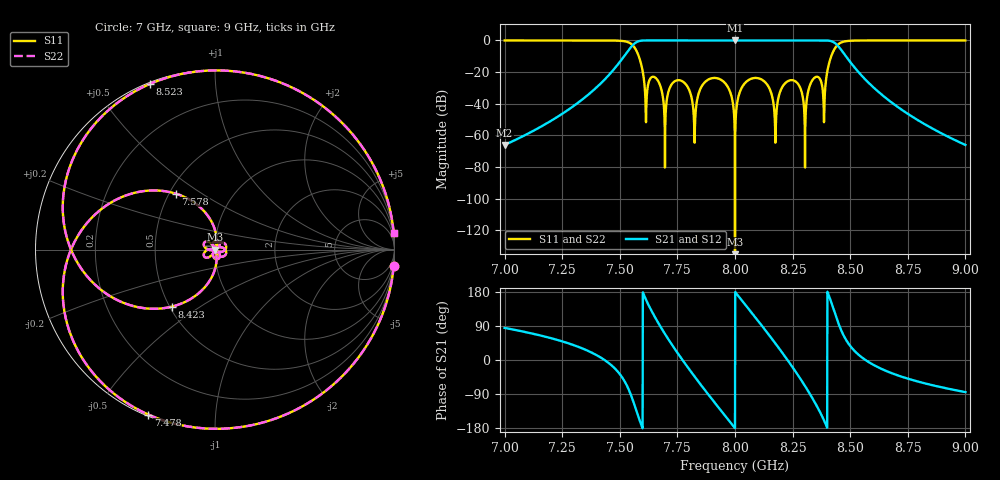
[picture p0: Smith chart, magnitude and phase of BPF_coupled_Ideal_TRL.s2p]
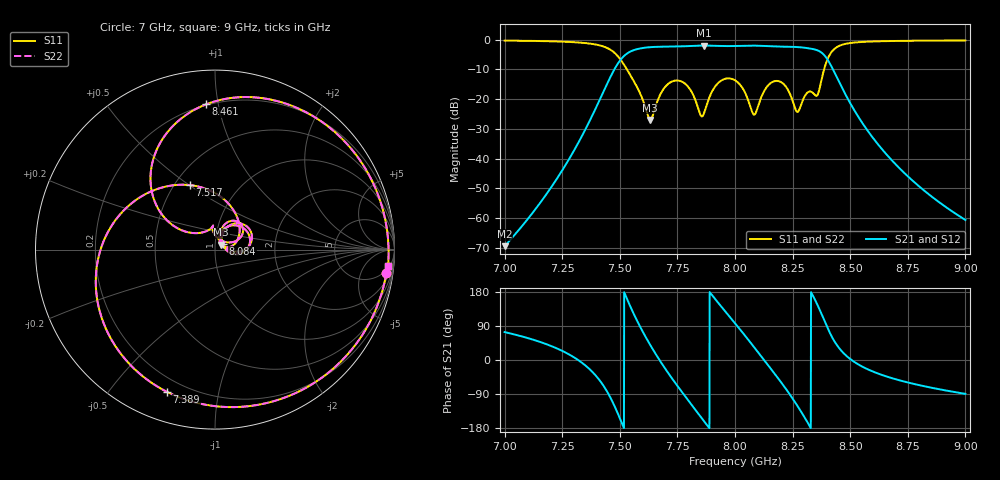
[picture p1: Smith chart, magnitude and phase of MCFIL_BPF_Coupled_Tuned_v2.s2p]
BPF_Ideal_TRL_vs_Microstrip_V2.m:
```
%% code for plotting BPF Coupled Ideal TRL Vs Microstrip MCFIL V2 tuned
file = 'BPF_coupled_Ideal_TRL.s2p';
file2  = 'MCFIL_BPF_Coupled_Tuned_v2.s2p';
g = read(rfdata.data,file);
h = read(rfdata.data,file2);
figure
plot(g,'s11','s21','db');
hold all
plot(h,'s11','s21','db');
```
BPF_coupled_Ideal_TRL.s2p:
! Created Fri Apr  5 19:09:32 2024
# hz S db R 50
! 2 Port Network Data from SP1.SP block
! freq  dbS11  angS11  dbS21  angS21  dbS12  angS12  dbS22  angS22
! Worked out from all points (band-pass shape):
!   2001 points, 7 GHz to 9 GHz, reference 50 ohm
!   highest |S21| = 0.00 dB at 8 GHz (marker M1); lowest = -66.0 dB at 7 GHz (marker M2)
!   |S21| within 3 dB of the highest: 7.556 GHz to 8.444 GHz (888.1 MHz wide, 11.1 % of centre)
!   lowest |S11| = -189.4 dB at 8 GHz (marker M3), VSWR 1.00, Z = 50 - j3.57e-14 ohm
!   |S11| at or under -10 dB: 7.582 GHz to 8.418 GHz (835.4 MHz wide, 10.4 % of centre)
!   |S22| runs from -189.4 to 0.0 dB; largest |S21 - S12| = 1.2e-13
!   S11 on the Smith chart (normalised r, x): 7 GHz: 0, -22; 7.478 GHz: 0.01, -0.67; 7.578 GHz: 0.54, +0.39; 8.423 GHz: 0.52, -0.39; 8.523 GHz: 0.01, +0.68; 9 GHz: 0, +22
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7e9  -0.00 -5.3  -66.03 84.7  -66.03 84.7  -0.00 -5.3
7.478e9  -0.08 -112.1  -17.61 -22.1  -17.61 -22.1  -0.08 -112.1
7.578e9  -8.38 125.1  -0.68 -144.9  -0.68 -144.9  -8.38 125.1
7.668e9  -26.09 -173.2  -0.01 96.8  -0.01 96.8  -26.09 -173.2
7.775e9  -26.10 -92.4  -0.01 -2.4  -0.01 -2.4  -26.10 -92.4
8e9  -189.40 -0.0  -0.00 -180.0  -0.00 -180.0  -189.40 -0.0
8.225e9  -26.10 92.4  -0.01 2.4  -0.01 2.4  -26.10 92.4
8.333e9  -25.83 172.2  -0.01 -97.8  -0.01 -97.8  -25.83 172.2
8.423e9  -8.04 -126.9  -0.74 143.1  -0.74 143.1  -8.04 -126.9
8.523e9  -0.07 111.4  -17.79 21.4  -17.79 21.4  -0.07 111.4
9e9  -0.00 5.3  -66.03 -84.7  -66.03 -84.7  -0.00 5.3
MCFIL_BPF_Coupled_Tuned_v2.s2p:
! Created Fri Apr  5 20:46:54 2024
# hz S db R 50
! 2 Port Network Data from SP1.SP block
! freq  dbS11  angS11  dbS21  angS21  dbS12  angS12  dbS22  angS22
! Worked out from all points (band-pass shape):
!   2001 points, 7 GHz to 9 GHz, reference 50 ohm
!   highest |S21| = -2.00 dB at 7.865 GHz (marker M1); lowest = -69.4 dB at 7 GHz (marker M2)
!   |S21| within 3 dB of the highest: 7.526 GHz to 8.385 GHz (859 MHz wide, 10.8 % of centre)
!   lowest |S11| = -27.0 dB at 7.632 GHz (marker M3), VSWR 1.09, Z = 53.5 + j3 ohm
!   |S11| at or under -10 dB: 7.531 GHz to 8.387 GHz (855.8 MHz wide, 10.8 % of centre)
!   |S22| runs from -27.0 to -0.3 dB; largest |S21 - S12| = 0
!   S11 on the Smith chart (normalised r, x): 7 GHz: 4, -14; 7.389 GHz: 0.13, -0.71; 7.517 GHz: 0.60, +0.50; 8.084 GHz: 1.09, +0.07; 8.461 GHz: 0.19, +0.92; 9 GHz: 6, -19
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7e9  -0.32 -7.7  -69.41 73.7  -69.41 73.7  -0.32 -7.7
7.389e9  -1.55 -108.6  -24.15 -36.6  -24.15 -36.6  -1.55 -108.6
7.517e9  -8.28 111.3  -5.59 -178.3  -5.59 -178.3  -8.28 111.3
7.632e9  -26.97 38.6  -2.53 39.7  -2.53 39.7  -26.97 38.6
7.758e9  -13.81 17.2  -2.29 -74.9  -2.29 -74.9  -13.81 17.2
7.865e9  -24.83 45.8  -2.00 -161.1  -2.00 -161.1  -24.83 45.8
8e9  -13.66 12.4  -2.14 97.0  -2.14 97.0  -13.66 12.4
8.084e9  -25.23 36.0  -2.02 33.0  -2.02 33.0  -25.23 36.0
8.231e9  -17.03 23.4  -2.38 -84.8  -2.38 -84.8  -17.03 23.4
8.461e9  -1.82 93.5  -15.63 24.8  -15.63 24.8  -1.82 93.5
9e9  -0.27 -5.5  -60.60 -89.4  -60.60 -89.4  -0.27 -5.5
